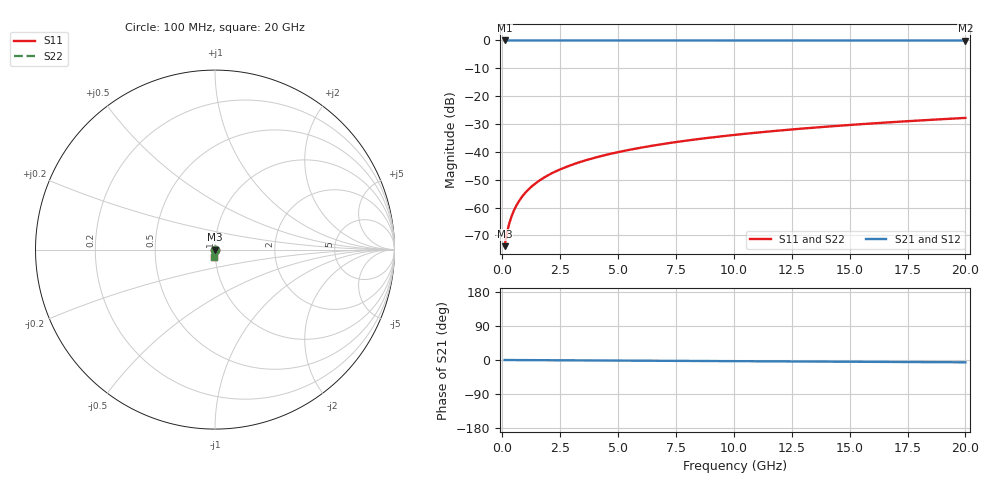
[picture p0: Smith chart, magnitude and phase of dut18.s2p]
! Touchstone file exported from HFSS 2026.1.0
!  File:  C:/ffzhzh/LocalFiles/Ansys_Project_Files/temp_train_TSV_18_1782958084_45748.aedt
!  Generated:  10:09:21 AM Jul  2, 2026
!  Design:  TSV
!  Project:  temp_train_TSV_18_1782958084_45748
! Variables:
!  h_bsmrdl = 2um
!  h_ox = 20um
!  h_rdl = 5um
!  h_sub = 58.39um
!  h_tmrdl = 5um
!  h_tsv = 58.39um
!  h_via = 3um
!  l_bsmrdl = 300um
!  l_sub = 418.1um
!  l_tmrdl = 200um
!  m_sub = 200um
!  pitch = 25.88um
!  r_tsv = 9.05um
!  s_tmrdl = 10um
!  w_bsmrdl = 18um
!  w_sub = 500um
!  w_tmrdl = 12um
!  x_tsv_center1 = 206um
!  x_tsv_center2 = 524um
!  x_tsv_center3 = 736um
!  x_tsv_center4 = 1054um
!  x_tsv_center5 = 1266um
!  x_tsv_center6 = 1584um
# GHz S MA R 50.000000
! Terminal data exported
! Port[1] = TSV1_1_T1
! Port[2] = TSV1_1_T2
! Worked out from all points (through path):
!   200 points, 100 MHz to 20 GHz, reference 50 ohm
!   highest |S21| = 0.00 dB at 100 MHz (marker M1); lowest = 0.0 dB at 20 GHz (marker M2)
!   lowest |S11| = -73.8 dB at 100 MHz (marker M3), VSWR 1.00, Z = 50 - j0.0159 ohm
!   |S11| at or under -10 dB: start of sweep to end of sweep
!   |S22| runs from -73.8 to -27.8 dB; largest |S21 - S12| = 5.4e-15
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0.1  0.0002034 -51.5  0.9999 -0.0  0.9999 -0.0  0.0002034 -51.5
! Gamma 0 0 0 0
! Port Impedance 50 0 50 0
0.2  0.000352 -66.3  0.9999 -0.1  0.9999 -0.1  0.000352 -66.3
0.3  0.0005187 -71.8  0.9998 -0.1  0.9998 -0.1  0.0005187 -71.8
0.4  0.000696 -74.5  0.9998 -0.1  0.9998 -0.1  0.000696 -74.5
0.5  0.0008809 -76.2  0.9998 -0.2  0.9998 -0.2  0.0008809 -76.2
0.7  0.001265 -78.5  0.9997 -0.2  0.9997 -0.2  0.001265 -78.5
0.8  0.001462 -79.4  0.9997 -0.3  0.9997 -0.3  0.001462 -79.4
1  0.001858 -80.8  0.9997 -0.3  0.9997 -0.3  0.001858 -80.8
1.2  0.002257 -81.9  0.9997 -0.4  0.9997 -0.4  0.002257 -81.9
1.4  0.002657 -82.8  0.9996 -0.4  0.9996 -0.4  0.002657 -82.8
1.7  0.003256 -83.9  0.9996 -0.5  0.9996 -0.5  0.003256 -83.9
2  0.003855 -84.6  0.9996 -0.6  0.9996 -0.6  0.003855 -84.6
2.7  0.005255 -85.9  0.9995 -0.8  0.9995 -0.8  0.005255 -85.9
3.5  0.006862 -86.8  0.9995 -1.1  0.9995 -1.1  0.006862 -86.8
4.2  0.008275 -87.4  0.9994 -1.3  0.9994 -1.3  0.008275 -87.4
5  0.009898 -88.0  0.9993 -1.5  0.9993 -1.5  0.009898 -88.0
6.8  0.01357 -89.0  0.9992 -2.1  0.9992 -2.1  0.01357 -89.0
8.3  0.01665 -89.8  0.9991 -2.5  0.9991 -2.5  0.01665 -89.8
10.1  0.02035 -90.6  0.9989 -3.1  0.9989 -3.1  0.02035 -90.6
13.4  0.02713 -91.9  0.9986 -4.1  0.9986 -4.1  0.02713 -91.9
16.7  0.03392 -93.2  0.9983 -5.1  0.9983 -5.1  0.03392 -93.1
20  0.04072 -94.3  0.9979 -6.1  0.9979 -6.1  0.04072 -94.3
